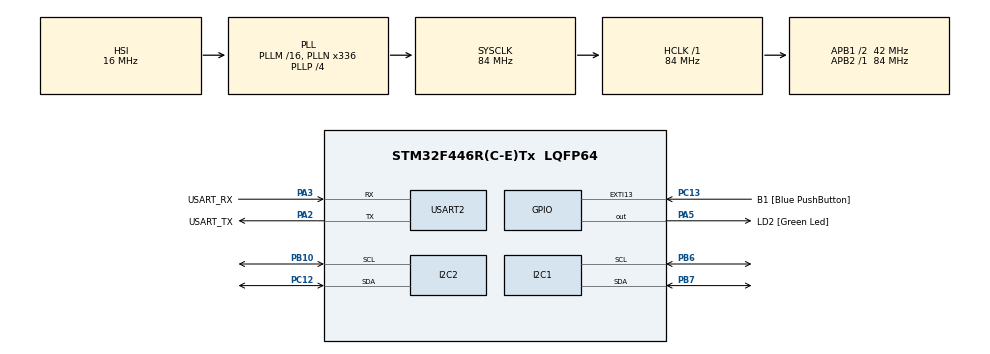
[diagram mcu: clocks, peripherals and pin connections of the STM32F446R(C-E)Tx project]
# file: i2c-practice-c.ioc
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Mcu.Family=STM32F4
Mcu.Name=STM32F446R(C-E)Tx
Mcu.Package=LQFP64
NVIC.PriorityGroup=NVIC_PRIORITYGROUP_0
PA13.GPIO_Label=TMS
PA13.Mode=Serial_Wire
PA13.Signal=SYS_JTMS-SWDIO
PA14.GPIO_Label=TCK
PA14.Mode=Serial_Wire
PA14.Signal=SYS_JTCK-SWCLK
PA2.GPIO_Label=USART_TX
PA2.Mode=Asynchronous
PA2.Signal=USART2_TX
PA3.GPIO_Label=USART_RX
PA3.Mode=Asynchronous
PA3.Signal=USART2_RX
PA5.GPIO_Label=LD2 [Green Led]
PA5.Signal=GPIO_Output
PB10.GPIO_Pu=GPIO_PULLUP
PB10.Mode=I2C
PB10.Signal=I2C2_SCL
PB3.GPIO_Label=SWO
PB3.Signal=SYS_JTDO-SWO
PB6.GPIO_Pu=GPIO_PULLUP
PB6.Mode=I2C
PB6.Signal=I2C1_SCL
PB7.GPIO_Pu=GPIO_PULLUP
PB7.Mode=I2C
PB7.Signal=I2C1_SDA
PC12.GPIO_Pu=GPIO_PULLUP
PC12.Mode=I2C
PC12.Signal=I2C2_SDA
PC13.GPIO_Label=B1 [Blue PushButton]
PC13.GPIO_ModeDefaultEXTI=GPIO_MODE_IT_FALLING
PC13.Signal=GPXTI13
PC14-OSC32_IN.Mode=LSE-External-Oscillator
PC14-OSC32_IN.Signal=RCC_OSC32_IN
PC15-OSC32_OUT.Mode=LSE-External-Oscillator
PC15-OSC32_OUT.Signal=RCC_OSC32_OUT
PH0-OSC_IN.Mode=HSE-External-Oscillator
PH0-OSC_IN.Signal=RCC_OSC_IN
PH1-OSC_OUT.Mode=HSE-External-Oscillator
PH1-OSC_OUT.Signal=RCC_OSC_OUT
ProjectManager.HeapSize=0x200
ProjectManager.StackSize=0x400
ProjectManager.TargetToolchain=STM32CubeIDE
RCC.48MHZClocksFreq_Value=84000000
RCC.AHBFreq_Value=84000000
RCC.APB1CLKDivider=RCC_HCLK_DIV2
RCC.APB1Freq_Value=42000000
RCC.APB1TimFreq_Value=84000000
RCC.APB2Freq_Value=84000000
RCC.APB2TimFreq_Value=84000000
RCC.CortexFreq_Value=84000000
RCC.FLatency-AdvancedSettings=FLASH_LATENCY_2
RCC.HCLKFreq_Value=84000000
RCC.HSE_VALUE=8000000
RCC.HSI_VALUE=16000000
RCC.PLLN=336
RCC.PLLP=RCC_PLLP_DIV4
RCC.SYSCLKFreq_VALUE=84000000
RCC.SYSCLKSource=RCC_SYSCLKSOURCE_PLLCLK
RCC.USBFreq_Value=168000000
RCC.VCOOutputFreq_Value=336000000
USART2.VirtualMode=VM_ASYNC
board=NUCLEO-F446RE

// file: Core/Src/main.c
/* USER CODE BEGIN Header */
/**
  ******************************************************************************
  * @file           : main.c
  * @brief          : Main program body
  ******************************************************************************
  * @attention
  *
  * Copyright (c) 2026 STMicroelectronics.
  * All rights reserved.
  *
  * This software is licensed under terms that can be found in the LICENSE file
  * in the root directory of this software component.
  * If no LICENSE file comes with this software, it is provided AS-IS.
  *
  ******************************************************************************
  */
/* USER CODE END Header */
#include "main.h"

I2C_HandleTypeDef hi2c1;
I2C_HandleTypeDef hi2c2;

UART_HandleTypeDef huart2;

void SystemClock_Config(void);
static void MX_GPIO_Init(void);
static void MX_USART2_UART_Init(void);
static void MX_I2C1_Init(void);
static void MX_I2C2_Init(void);

/* USER CODE BEGIN 0 */

// Send stdout to USART2 and stderr to SWO
int _write(int fd, char *ptr, int len) {

    if (fd == 1) {
        HAL_StatusTypeDef hstatus;
        hstatus = HAL_UART_Transmit(&huart2, (uint8_t*) ptr, len, HAL_MAX_DELAY);
        if (hstatus == HAL_OK)
            return len;
        else
            return -1;
    } else if (fd == 2) {
        for (int i = 0; i < len; i++) {
            ITM_SendChar(ptr[i]); /* core_cm4.h */
        }
        return len;
    } else {
        return -1;
    }
    return -1;
}

/* USER CODE END 0 */

int main(void)
{

  /* MCU Configuration--------------------------------------------------------*/

  /* Reset of all peripherals, Initializes the Flash interface and the Systick. */
  HAL_Init();

  /* Configure the system clock */
  SystemClock_Config();

  /* Initialize all configured peripherals */
  MX_GPIO_Init();
  MX_USART2_UART_Init();
  MX_I2C1_Init();
  MX_I2C2_Init();
  /* USER CODE BEGIN 2 */

  printf("\n\n\n-------------\nStarting I2C1\n");

  // Go through all possible i2c addresses
  printf("\nScan I2C1\n");
  for (uint8_t i = 0; i < 128; i++) {

      if (HAL_I2C_IsDeviceReady(&hi2c1, (uint16_t) (i << 1), 3, 5) == HAL_OK) {
          // We got an ack
          printf("%2x ", i);
      } else {
          printf("-- ");
      }

      if (i > 0 && (i + 1) % 16 == 0)
          printf("\n");

  }

  printf("\nScan I2C2\n");

  // Go through all possible i2c addresses
  for (uint8_t i = 0; i < 128; i++) {

      if (HAL_I2C_IsDeviceReady(&hi2c2, (uint16_t) (i << 1), 3, 5) == HAL_OK) {
          // We got an ack
          printf("%2x ", i);
      } else {
          printf("-- ");
      }

      if (i > 0 && (i + 1) % 16 == 0)
          printf("\n");

  }

  printf("\n");

  /* USER CODE END 2 */

  /* Infinite loop */
  /* USER CODE BEGIN WHILE */
  uint32_t now = 0, loop_cnt = 0, next_tick = 1000;
  while (1)
  {
    /* USER CODE END WHILE */

    /* USER CODE BEGIN 3 */

	// tick
	now = uwTick;

	if (now >= next_tick) {

		printf("Tick %lu (loop = %lu)\n", now / 1000, loop_cnt);

		loop_cnt = 0;
		next_tick = now + 1000;

	}

	++loop_cnt;
  /* USER CODE END 3 */
  }
}

void SystemClock_Config(void)
{
  RCC_OscInitTypeDef RCC_OscInitStruct = {0};
  RCC_ClkInitTypeDef RCC_ClkInitStruct = {0};

  /** Configure the main internal regulator output voltage
  */
  __HAL_RCC_PWR_CLK_ENABLE();
  __HAL_PWR_VOLTAGESCALING_CONFIG(PWR_REGULATOR_VOLTAGE_SCALE3);

  /** Initializes the RCC Oscillators according to the specified parameters
  * in the RCC_OscInitTypeDef structure.
  */
  RCC_OscInitStruct.OscillatorType = RCC_OSCILLATORTYPE_HSI;
  RCC_OscInitStruct.HSIState = RCC_HSI_ON;
  RCC_OscInitStruct.HSICalibrationValue = RCC_HSICALIBRATION_DEFAULT;
  RCC_OscInitStruct.PLL.PLLState = RCC_PLL_ON;
  RCC_OscInitStruct.PLL.PLLSource = RCC_PLLSOURCE_HSI;
  RCC_OscInitStruct.PLL.PLLM = 16;
  RCC_OscInitStruct.PLL.PLLN = 336;
  RCC_OscInitStruct.PLL.PLLP = RCC_PLLP_DIV4;
  RCC_OscInitStruct.PLL.PLLQ = 2;
  RCC_OscInitStruct.PLL.PLLR = 2;
  if (HAL_RCC_OscConfig(&RCC_OscInitStruct) != HAL_OK)
  {
    Error_Handler();
  }

  /** Initializes the CPU, AHB and APB buses clocks
  */
  RCC_ClkInitStruct.ClockType = RCC_CLOCKTYPE_HCLK|RCC_CLOCKTYPE_SYSCLK
                              |RCC_CLOCKTYPE_PCLK1|RCC_CLOCKTYPE_PCLK2;
  RCC_ClkInitStruct.SYSCLKSource = RCC_SYSCLKSOURCE_PLLCLK;
  RCC_ClkInitStruct.AHBCLKDivider = RCC_SYSCLK_DIV1;
  RCC_ClkInitStruct.APB1CLKDivider = RCC_HCLK_DIV2;
  RCC_ClkInitStruct.APB2CLKDivider = RCC_HCLK_DIV1;

  if (HAL_RCC_ClockConfig(&RCC_ClkInitStruct, FLASH_LATENCY_2) != HAL_OK)
  {
    Error_Handler();
  }
}

static void MX_I2C1_Init(void)
{

  hi2c1.Instance = I2C1;
  hi2c1.Init.ClockSpeed = 100000;
  hi2c1.Init.DutyCycle = I2C_DUTYCYCLE_2;
  hi2c1.Init.OwnAddress1 = 0;
  hi2c1.Init.AddressingMode = I2C_ADDRESSINGMODE_7BIT;
  hi2c1.Init.DualAddressMode = I2C_DUALADDRESS_DISABLE;
  hi2c1.Init.OwnAddress2 = 0;
  hi2c1.Init.GeneralCallMode = I2C_GENERALCALL_DISABLE;
  hi2c1.Init.NoStretchMode = I2C_NOSTRETCH_DISABLE;
  if (HAL_I2C_Init(&hi2c1) != HAL_OK)
  {
    Error_Handler();
  }

}

static void MX_I2C2_Init(void)
{

  hi2c2.Instance = I2C2;
  hi2c2.Init.ClockSpeed = 100000;
  hi2c2.Init.DutyCycle = I2C_DUTYCYCLE_2;
  hi2c2.Init.OwnAddress1 = 0;
  hi2c2.Init.AddressingMode = I2C_ADDRESSINGMODE_7BIT;
  hi2c2.Init.DualAddressMode = I2C_DUALADDRESS_DISABLE;
  hi2c2.Init.OwnAddress2 = 0;
  hi2c2.Init.GeneralCallMode = I2C_GENERALCALL_DISABLE;
  hi2c2.Init.NoStretchMode = I2C_NOSTRETCH_DISABLE;
  if (HAL_I2C_Init(&hi2c2) != HAL_OK)
  {
    Error_Handler();
  }

}

static void MX_USART2_UART_Init(void)
{

  huart2.Instance = USART2;
  huart2.Init.BaudRate = 115200;
  huart2.Init.WordLength = UART_WORDLENGTH_8B;
  huart2.Init.StopBits = UART_STOPBITS_1;
  huart2.Init.Parity = UART_PARITY_NONE;
  huart2.Init.Mode = UART_MODE_TX_RX;
  huart2.Init.HwFlowCtl = UART_HWCONTROL_NONE;
  huart2.Init.OverSampling = UART_OVERSAMPLING_16;
  if (HAL_UART_Init(&huart2) != HAL_OK)
  {
    Error_Handler();
  }

}

static void MX_GPIO_Init(void)
{
  GPIO_InitTypeDef GPIO_InitStruct = {0};

  /* GPIO Ports Clock Enable */
  __HAL_RCC_GPIOC_CLK_ENABLE();
  __HAL_RCC_GPIOH_CLK_ENABLE();
  __HAL_RCC_GPIOA_CLK_ENABLE();
  __HAL_RCC_GPIOB_CLK_ENABLE();

  /*Configure GPIO pin Output Level */
  HAL_GPIO_WritePin(LD2_GPIO_Port, LD2_Pin, GPIO_PIN_RESET);

  /*Configure GPIO pin : B1_Pin */
  GPIO_InitStruct.Pin = B1_Pin;
  GPIO_InitStruct.Mode = GPIO_MODE_IT_FALLING;
  GPIO_InitStruct.Pull = GPIO_NOPULL;
  HAL_GPIO_Init(B1_GPIO_Port, &GPIO_InitStruct);

  /*Configure GPIO pin : LD2_Pin */
  GPIO_InitStruct.Pin = LD2_Pin;
  GPIO_InitStruct.Mode = GPIO_MODE_OUTPUT_PP;
  GPIO_InitStruct.Pull = GPIO_NOPULL;
  GPIO_InitStruct.Speed = GPIO_SPEED_FREQ_LOW;
  HAL_GPIO_Init(LD2_GPIO_Port, &GPIO_InitStruct);

}

void Error_Handler(void)
{
  __disable_irq();
  while (1)
  {
  }
}
